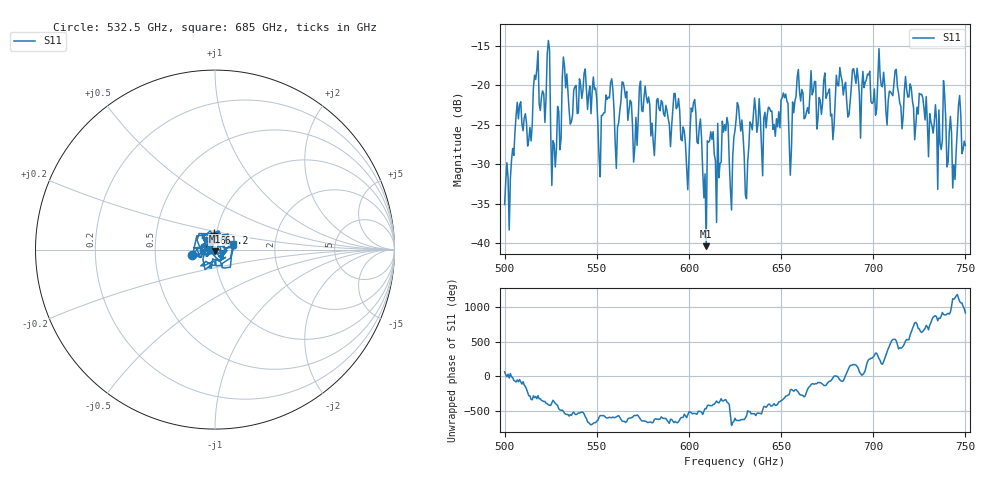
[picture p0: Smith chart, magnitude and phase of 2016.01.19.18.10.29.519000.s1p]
!Created with skrf (http://scikit-rf.org).
# GHz S RI R 50.0
!freq ReS11 ImS11
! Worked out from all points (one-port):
!   401 points, 500 GHz to 750 GHz, reference 50 ohm
!   lowest |S11| = -40.4 dB at 609.4 GHz (marker M1), VSWR 1.02, Z = 49.8 - j0.934 ohm
!   |S11| at or under -10 dB: start of sweep to end of sweep
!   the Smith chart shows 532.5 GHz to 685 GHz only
!   S11 on the Smith chart (normalised r, x): 532.5 GHz: 0.77, -0.04; 661.2 GHz: 0.97, +0.18; 685 GHz: 1.22, +0.07
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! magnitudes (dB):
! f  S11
! 500 GHz  -35.1
! 507.5 GHz  -24.2
! 513.8 GHz  -25.3
! 516.9 GHz  -19.2
! 523.8 GHz  -14.3
! 526.9 GHz  -27.4
! 531.2 GHz  -19.2
! 532.5 GHz  -17.5
! 535.6 GHz  -24.9
! 548.8 GHz  -20.5
! 551.9 GHz  -31.6
! 557.5 GHz  -19.6
! 562.5 GHz  -23.2
! 593.8 GHz  -22.7
! 598.8 GHz  -30.3
! 602.5 GHz  -22.2
! 609.4 GHz  -40.4
! 619.4 GHz  -25.0
! 623.1 GHz  -35.8
! 625 GHz  -25.7
! 631.2 GHz  -34.4
! 635 GHz  -23.6
! 656.2 GHz  -22.1
! 661.2 GHz  -20.5
! 685 GHz  -19.6
! 687.5 GHz  -22.0
! 718.8 GHz  -21.5
! 750 GHz  -27.6
